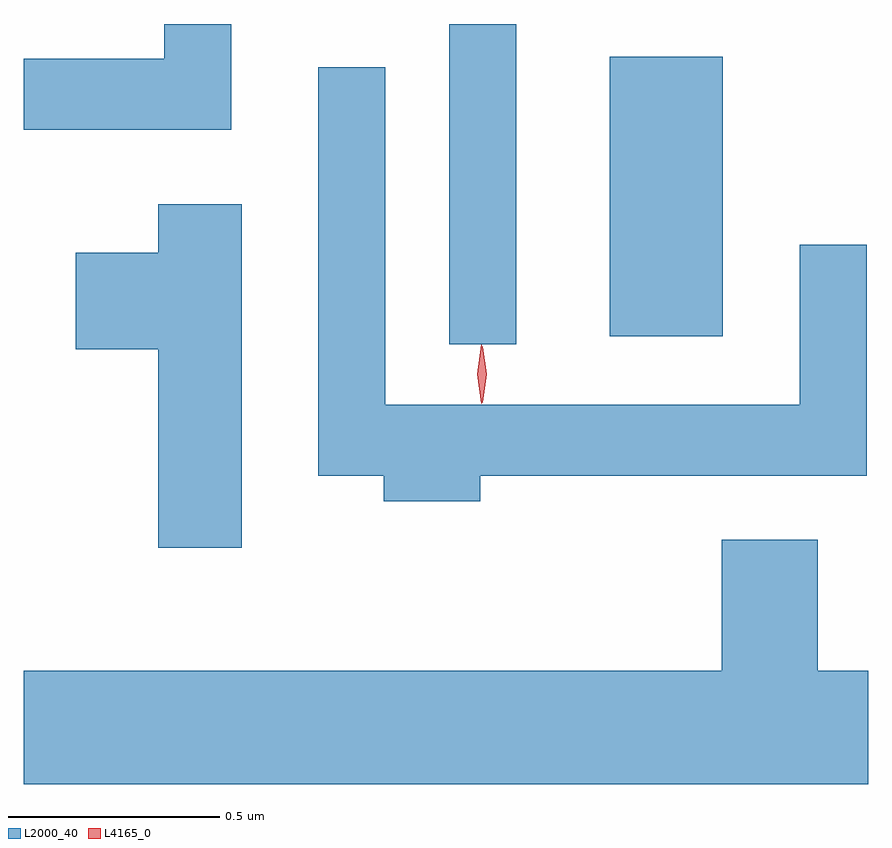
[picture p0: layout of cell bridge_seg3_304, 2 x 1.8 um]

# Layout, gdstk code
import gdstk
lib = gdstk.Library(unit=1e-6, precision=1e-09)
def R(c, l, rs):  # rectangles x0, y0, x1, y1
    for r in rs: c.add(gdstk.rectangle(r[:2], r[2:], *l))
def P(c, l, *ps):  # polygons
    for p in ps: c.add(gdstk.Polygon(p, *l))
L2000_40 = (2000, 40)
L4165_0 = (4165, 0)

bridge_seg3_304 = lib.new_cell('bridge_seg3_304')
R(bridge_seg3_304, L2000_40, [(1071.426,1127.058,1071.584,1127.816), (1071.806,1127.076,1072.074,1127.739)])
P(bridge_seg3_304, L2000_40, [(1070.909,1127.816),(1070.751,1127.816),(1070.751,1127.734),(1070.418,1127.734),(1070.418,1127.566),(1070.909,1127.566)],
  [(1071.499,1126.746),(1072.414,1126.746),(1072.414,1127.293),(1072.256,1127.293),(1072.256,1126.914),(1071.274,1126.914),(1071.274,1127.713),(1071.116,1127.713),(1071.116,1126.746),(1071.271,1126.746),(1071.271,1126.686),(1071.499,1126.686)],
  [(1070.934,1127.389),(1070.736,1127.389),(1070.736,1127.274),(1070.541,1127.274),(1070.541,1127.046),(1070.736,1127.046),(1070.736,1126.576),(1070.934,1126.576)],
  [(1072.418,1126.284),(1072.299,1126.284),(1072.299,1126.594),(1072.071,1126.594),(1072.071,1126.284),(1070.418,1126.284),(1070.418,1126.016),(1072.418,1126.016)])
P(bridge_seg3_304, L4165_0, [(1071.502,1126.917),(1071.502,1126.918),(1071.492,1126.987),(1071.502,1127.056),(1071.502,1127.056),(1071.503,1127.056),(1071.512,1126.987),(1071.503,1126.918)],
  [(1071.505,1126.919),(1071.504,1126.92),(1071.495,1126.986),(1071.504,1127.052),(1071.505,1127.053),(1071.505,1127.052),(1071.515,1126.986),(1071.505,1126.92)])

lib.write_gds('bridge_seg3_304.gds')
